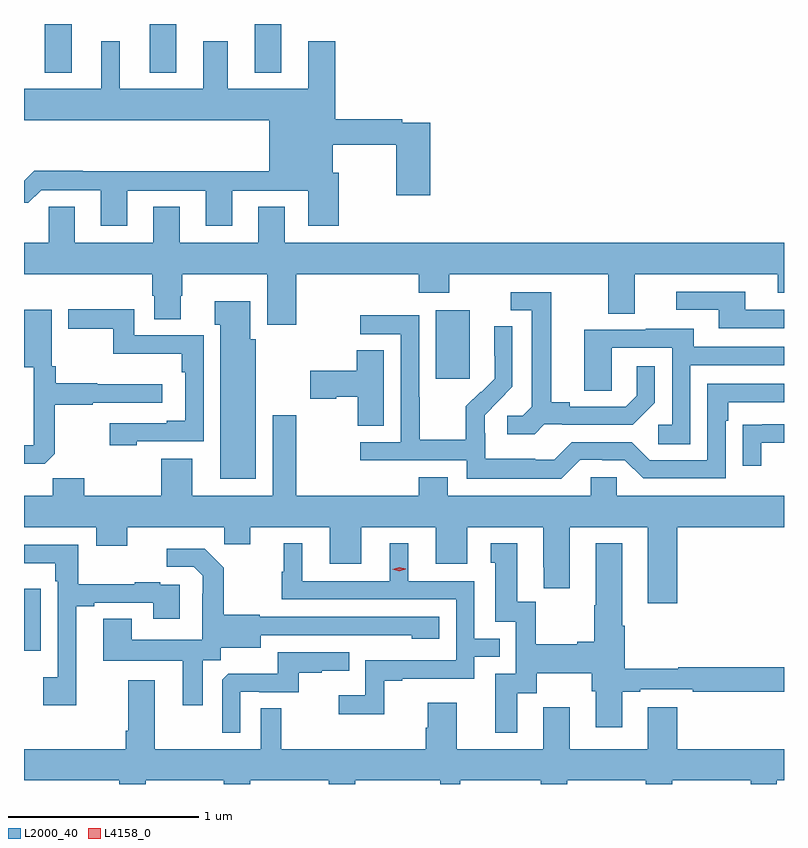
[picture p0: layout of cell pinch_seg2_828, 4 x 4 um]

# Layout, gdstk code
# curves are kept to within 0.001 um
import gdstk
lib = gdstk.Library(unit=1e-6, precision=1e-09)
def R(c, l, rs):  # rectangles x0, y0, x1, y1
    for r in rs: c.add(gdstk.rectangle(r[:2], r[2:], *l))
def A(c, l, x, y, w, h, nx, ny, dx, dy):  # array of equal rectangles
    R(c, l, [(x+i*dx, y+j*dy, x+i*dx+w, y+j*dy+h) for i in range(nx) for j in range(ny)])
def P(c, l, *ps):  # polygons
    for p in ps: c.add(gdstk.Polygon(p, *l))
L2000_40 = (2000, 40)
L4158_0 = (4158, 0)

pinch_seg2_828 = lib.new_cell('pinch_seg2_828')
A(pinch_seg2_828, L2000_40, 792.413, 618.059, 0.14, 0.257, 3, 1, 0.552, 0)
R(pinch_seg2_828, L2000_40, [(792.303,615.018,792.39,615.343), (794.471,616.449,794.65,616.81)])
P(pinch_seg2_828, L2000_40, [(792.847,617.439),(793.259,617.439),(793.259,617.253),(793.399,617.253),(793.399,617.439),(793.799,617.439),(793.799,617.253),(793.959,617.253),(793.959,617.532),(793.927,617.532),(793.927,617.68),(794.263,617.68),(794.263,617.415),(794.441,617.415),(794.441,617.796),(794.294,617.796),(794.294,617.816),(793.94,617.816),(793.94,618.226),(793.799,618.226),(793.799,617.974),(793.375,617.974),(793.375,618.226),(793.247,618.226),(793.247,617.974),(792.808,617.974),(792.808,618.226),(792.71,618.226),(792.71,617.974),(792.303,617.974),(792.303,617.81),(793.595,617.81),(793.595,617.54),(792.611,617.54),(792.611,617.543),(792.356,617.543),(792.303,617.49),(792.303,617.375),(792.326,617.375),(792.393,617.442),(792.707,617.442),(792.707,617.253),(792.847,617.253)],
  [(793.736,617),(794.381,617),(794.381,616.901),(794.541,616.901),(794.541,617),(795.377,617),(795.377,616.792),(795.517,616.792),(795.517,617),(796.271,617),(796.271,616.901),(796.303,616.901),(796.303,617.164),(793.675,617.164),(793.675,617.354),(793.535,617.354),(793.535,617.164),(793.123,617.164),(793.123,617.354),(792.983,617.354),(792.983,617.164),(792.571,617.164),(792.571,617.354),(792.432,617.354),(792.432,617.164),(792.303,617.164),(792.303,617),(792.977,617),(792.977,616.887),(792.989,616.887),(792.989,616.762),(793.129,616.762),(793.129,616.887),(793.137,616.887),(793.137,617),(793.583,617),(793.583,616.734),(793.736,616.734)],
  [(796.303,616.812),(796.099,616.812),(796.099,616.908),(795.735,616.908),(795.735,616.812),(795.959,616.812),(795.959,616.716),(796.303,616.716)],
  [(795.042,616.209),(795.136,616.209),(795.136,616.206),(795.508,616.206),(795.624,616.322),(795.624,616.516),(795.527,616.516),(795.527,616.359),(795.47,616.302),(795.175,616.302),(795.175,616.325),(795.079,616.325),(795.079,616.905),(794.865,616.905),(794.865,616.809),(794.975,616.809),(794.975,616.301),(794.928,616.254),(794.847,616.254),(794.847,616.157),(794.99,616.157)],
  [(793.522,616.656),(793.495,616.656),(793.495,616.858),(793.307,616.858),(793.307,616.733),(793.337,616.733),(793.337,615.923),(793.522,615.923)],
  [(792.897,616.119),(793.248,616.119),(793.248,616.677),(792.882,616.677),(792.882,616.814),(792.537,616.814),(792.537,616.711),(792.774,616.711),(792.774,616.58),(793.132,616.58),(793.132,616.484),(793.152,616.484),(793.152,616.228),(793.055,616.228),(793.055,616.215),(792.753,616.215),(792.753,616.1),(792.897,616.1)],
  [(792.465,616.053),(792.465,616.311),(792.665,616.311),(792.665,616.323),(793.03,616.323),(793.03,616.42),(792.689,616.42),(792.689,616.424),(792.47,616.424),(792.47,616.516),(792.45,616.516),(792.45,616.813),(792.303,616.813),(792.303,616.509),(792.354,616.509),(792.354,616.098),(792.303,616.098),(792.303,616.002),(792.413,616.002)],
  [(795.231,616.023),(795.347,616.023),(795.347,616.02),(795.465,616.02),(795.561,615.924),(795.996,615.924),(795.996,616.229),(796.009,616.229),(796.009,616.326),(796.303,616.326),(796.303,616.422),(795.9,616.422),(795.9,616.02),(795.597,616.02),(795.501,616.116),(795.186,616.116),(795.093,616.023),(794.993,616.023),(794.993,616.027),(794.73,616.027),(794.73,616.161),(794.728,616.161),(794.728,616.258),(794.874,616.406),(794.874,616.724),(794.778,616.724),(794.778,616.57),(794.78,616.57),(794.78,616.448),(794.709,616.377),(794.706,616.38),(794.629,616.303),(794.629,616.129),(794.385,616.129),(794.385,616.352),(794.382,616.352),(794.382,616.782),(794.073,616.782),(794.073,616.683),(794.286,616.683),(794.286,616.116),(794.073,616.116),(794.073,616.02),(794.634,616.02),(794.634,615.923),(795.131,615.923)],
  [(795.81,616.521),(796.303,616.521),(796.303,616.617),(795.829,616.617),(795.829,616.711),(795.575,616.711),(795.575,616.707),(795.251,616.707),(795.251,616.387),(795.396,616.387),(795.396,616.611),(795.714,616.611),(795.714,616.206),(795.642,616.206),(795.642,616.105),(795.81,616.105)],
  [(794.197,616.598),(794.054,616.598),(794.054,616.49),(793.809,616.49),(793.809,616.343),(793.946,616.343),(793.946,616.355),(794.059,616.355),(794.059,616.201),(794.197,616.201)],
  [(795.74,615.668),(796.303,615.668),(796.303,615.832),(795.423,615.832),(795.423,615.93),(795.285,615.93),(795.285,615.832),(794.533,615.832),(794.533,615.931),(794.381,615.931),(794.381,615.832),(793.737,615.832),(793.737,616.258),(793.613,616.258),(793.613,615.832),(793.189,615.832),(793.189,616.027),(793.025,616.027),(793.025,615.832),(792.619,615.832),(792.619,615.925),(792.455,615.925),(792.455,615.832),(792.303,615.832),(792.303,615.668),(792.683,615.668),(792.683,615.569),(792.847,615.569),(792.847,615.668),(793.357,615.668),(793.357,615.578),(793.495,615.578),(793.495,615.668),(793.913,615.668),(793.913,615.474),(794.077,615.474),(794.077,615.668),(794.471,615.668),(794.471,615.474),(794.635,615.474),(794.635,615.668),(795.035,615.668),(795.035,615.457),(795.038,615.457),(795.038,615.345),(795.175,615.345),(795.175,615.668),(795.587,615.668),(795.587,615.267),(795.74,615.267)],
  [(796.183,616.113),(796.303,616.113),(796.303,616.209),(796.189,616.209),(796.189,616.208),(796.087,616.208),(796.087,615.99),(796.183,615.99)],
  [(794.199,614.859),(794.293,614.859),(794.293,614.871),(794.673,614.871),(794.673,614.985),(794.807,614.985),(794.807,615.081),(794.673,615.081),(794.673,615.384),(794.326,615.384),(794.326,615.583),(794.228,615.583),(794.228,615.384),(793.768,615.384),(793.768,615.583),(793.67,615.583),(793.67,615.432),(793.659,615.432),(793.659,615.288),(794.577,615.288),(794.577,614.967),(794.1,614.967),(794.1,614.782),(793.959,614.782),(793.959,614.684),(794.199,614.684)],
  [(794.899,614.794),(795.001,614.794),(795.001,614.9),(795.292,614.9),(795.292,614.805),(795.311,614.805),(795.311,614.616),(795.451,614.616),(795.451,614.802),(795.547,614.802),(795.547,614.814),(795.823,614.814),(795.823,614.802),(796.303,614.802),(796.303,614.93),(795.747,614.93),(795.747,614.923),(795.464,614.923),(795.464,615.148),(795.451,615.148),(795.451,615.583),(795.311,615.583),(795.311,615.257),(795.304,615.257),(795.304,615.065),(795.215,615.065),(795.215,615.052),(794.997,615.052),(794.997,615.275),(794.899,615.275),(794.899,615.583),(794.759,615.583),(794.759,615.48),(794.783,615.48),(794.783,615.171),(794.892,615.171),(794.892,614.895),(794.783,614.895),(794.783,614.586),(794.899,614.586)],
  [(792.577,615.252),(792.673,615.252),(792.673,615.27),(792.983,615.27),(792.983,615.186),(793.123,615.186),(793.123,615.366),(793.019,615.366),(793.019,615.379),(792.887,615.379),(792.887,615.368),(792.589,615.368),(792.589,615.576),(792.303,615.576),(792.303,615.479),(792.468,615.479),(792.468,615.383),(792.48,615.383),(792.48,614.878),(792.405,614.878),(792.405,614.73),(792.577,614.73)],
  [(793.243,614.968),(793.338,614.968),(793.338,615.032),(793.549,615.032),(793.549,615.099),(794.343,615.098),(794.343,615.08),(794.488,615.08),(794.488,615.195),(793.545,615.195),(793.545,615.208),(793.353,615.208),(793.353,615.453),(793.253,615.553),(793.053,615.553),(793.053,615.459),(793.197,615.459),(793.244,615.412),(793.244,615.317),(793.242,615.317),(793.242,615.076),(792.871,615.076),(792.871,615.185),(792.719,615.185),(792.719,614.966),(793.139,614.966),(793.139,614.73),(793.243,614.73)],
  [(793.44,614.802),(793.54,614.802),(793.54,614.799),(793.748,614.799),(793.748,614.901),(793.871,614.901),(793.871,614.912),(794.015,614.912),(794.015,615.009),(793.638,615.009),(793.638,614.897),(793.379,614.897),(793.347,614.865),(793.347,614.585),(793.44,614.585)],
  [(792.943,614.336),(793.355,614.336),(793.355,614.316),(793.495,614.316),(793.495,614.336),(793.907,614.336),(793.907,614.316),(794.046,614.316),(794.046,614.336),(794.495,614.336),(794.495,614.316),(794.599,614.316),(794.599,614.336),(795.023,614.336),(795.023,614.316),(795.163,614.316),(795.163,614.336),(795.575,614.336),(795.575,614.316),(795.715,614.316),(795.715,614.336),(796.127,614.336),(796.127,614.316),(796.266,614.316),(796.266,614.336),(796.303,614.336),(796.303,614.5),(795.74,614.5),(795.74,614.719),(795.587,614.719),(795.587,614.5),(795.175,614.5),(795.175,614.719),(795.035,614.719),(795.035,614.5),(794.581,614.5),(794.581,614.743),(794.429,614.743),(794.429,614.613),(794.417,614.613),(794.417,614.5),(793.657,614.5),(793.657,614.714),(793.548,614.714),(793.548,614.5),(792.991,614.5),(792.991,614.863),(792.851,614.863),(792.851,614.596),(792.839,614.596),(792.839,614.5),(792.303,614.5),(792.303,614.336),(792.803,614.336),(792.803,614.316),(792.943,614.316)])
P(pinch_seg2_828, L4158_0, [(794.277,615.436),(794.241,615.445),(794.241,615.445),(794.241,615.446),(794.277,615.456),(794.313,615.448),(794.313,615.448),(794.313,615.447)])

lib.write_gds('pinch_seg2_828.gds')
